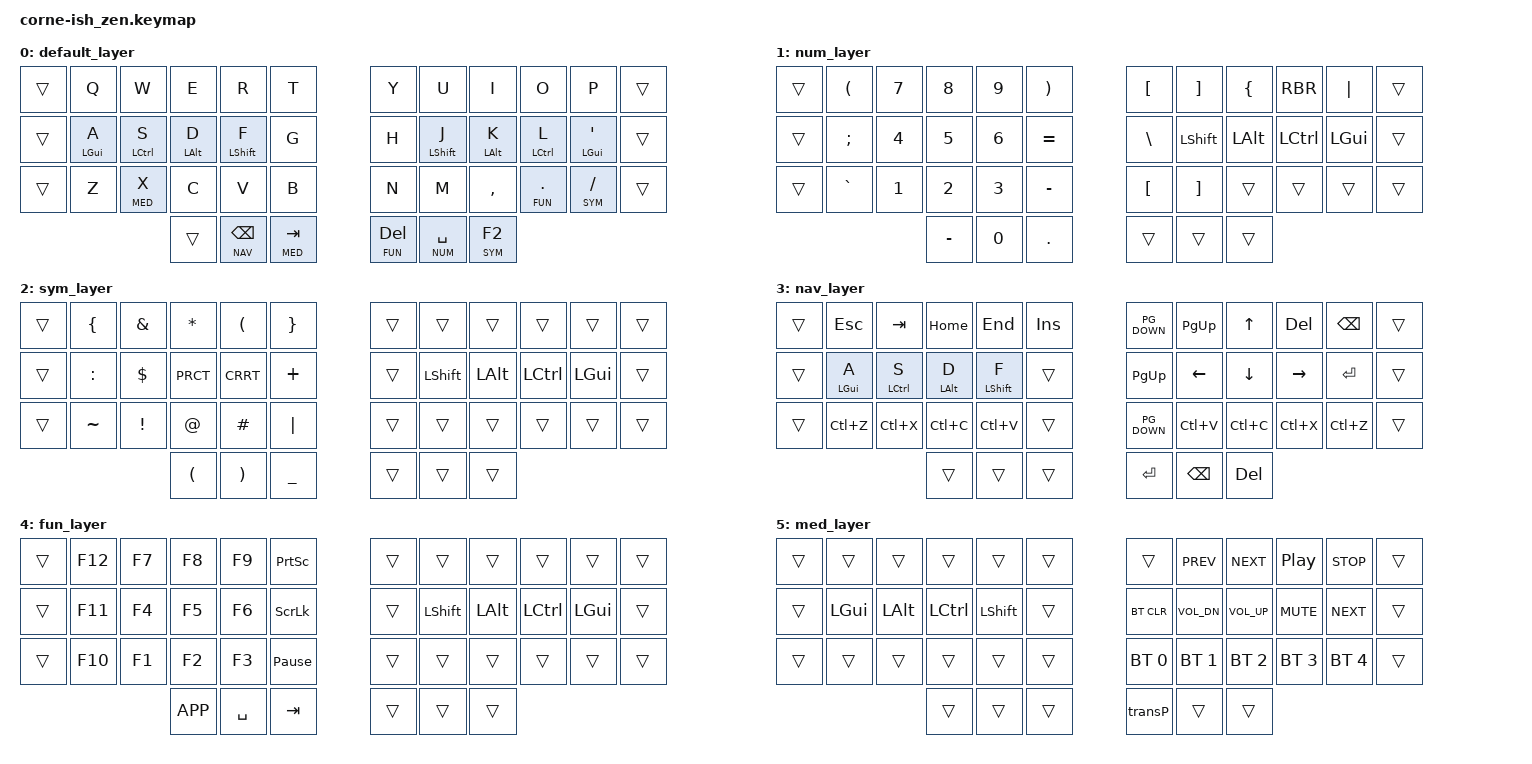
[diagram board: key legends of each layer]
/*
*
* Copyright (c) 2021 Darryl deHaan
* SPDX-License-Identifier: MIT
*
*/

#include <behaviors.dtsi>
#include <dt-bindings/zmk/keys.h>
#include <dt-bindings/zmk/bt.h>

#define BASE 0
#define NUM 1
#define SYM 2
#define NAV 3
#define FUN 4
#define MED 5

/ {
    combos {
        compatible = "zmk,combos";
        combo_esc {
            timeout-ms = <50>;
            key-positions = <13 14>;
            bindings = <&kp ESC>;
        };
        combo_tab {
            timeout-ms = <50>;
            key-positions = <14 15>;
            bindings = <&kp TAB>;
        };
        combo_delete {
            timeout-ms = <50>;
            key-positions = <15 16>;
            bindings = <&kp DELETE>;
        };
        combo_backspace {
            timeout-ms = <50>;
            key-positions = <19 20>;
            bindings = <&kp BSPC>;
        };
        combo_enter {
            timeout-ms = <50>;
            key-positions = <21 22>;
            bindings = <&kp RET>;
        };
        combo_scln {
            timeout-ms = <50>;
            key-positions = <20 21>;
            bindings = <&kp SCLN>;
        };
        combo_lpar {
            timeout-ms = <50>;
            key-positions = <3 4>;
            bindings = <&kp LPAR>;
        };
        combo_rpar {
            timeout-ms = <50>;
            key-positions = <7 8>;
            bindings = <&kp RPAR>;
        };
        combo_lbkt {
            timeout-ms = <50>;
            key-positions = <7 8>;
            bindings = <&kp LBKT>;
        };
        combo_rbkt {
            timeout-ms = <50>;
            key-positions = <7 8>;
            bindings = <&kp RBKT>;
        };
        combo_minus {
            timeout-ms = <50>;
            key-positions = <2 3>;
            bindings = <&kp MINUS>;
        };
        combo_equal {
            timeout-ms = <50>;
            key-positions = <8 9>;
            bindings = <&kp EQUAL>;
        };

    };
};

/ {
    behaviors {
        hm: homerow_mods {
            compatible = "zmk,behavior-hold-tap";
            label = "HOMEROW_MODS";
            #binding-cells = <2>;
            tapping-term-ms = <150>;
            quick-tap-ms = <0>;
            flavor = "tap-preferred";
            bindings = <&kp>, <&kp>;
        };
    };
};




/ {
        keymap {
                compatible = "zmk,keymap";

                default_layer {
                        
                        bindings = <
&trans &kp Q              &kp W              &kp E              &kp R              &kp T              &kp Y              &kp U              &kp I              &kp O              &kp P           &trans    
&trans &hm LGUI A         &hm LCTRL S        &hm LALT D         &hm LSHFT F         &kp G              &kp H              &hm LSHFT J        &hm LALT K         &hm LCTRL L        &hm LGUI SQT   &trans     
&trans &kp Z              &lt MED X          &kp C              &kp V              &kp B              &kp N              &kp M              &kp COMMA          &lt FUN DOT        &lt SYM SLASH   &trans 
                                             &trans             &lt  NAV BSPC     &lt  MED TAB      &lt  FUN DEL       &lt  NUM SPC        &lt SYM F2
                        >;
                };
                num_layer {
                       
                        bindings = <
&trans &kp LPAR           &kp NUM_7          &kp NUM_8          &kp NUM_9          &kp RPAR           &kp LBKT              &kp RBKT           &kp LBRC           &kp RBR            &kp PIPE      &trans 
&trans &kp SEMI           &kp NUM_4          &kp NUM_5          &kp NUM_6          &kp EQL            &kp BSLH              &kp LSHFT          &kp LALT           &kp LCTRL          &kp LGUI      &trans        
&trans &kp GRAVE          &kp NUM_1          &kp NUM_2          &kp NUM_3          &kp MINUS          &kp LBKT              &kp RBKT           &trans             &trans             &trans        &trans         
                                            &kp MINUS     &kp NUM_0      &kp DOT               &trans                &trans             &trans  
                        >;
                };

                sym_layer {
                        
                        bindings = <
&trans &kp LBRC           &kp AMPS           &kp ASTRK          &kp LPAR           &kp RBRC           &trans                &trans             &trans             &trans             &trans       &trans   
&trans &kp COLON          &kp DLLR           &kp PRCT           &kp CRRT           &kp PLUS           &trans                &kp LSHFT          &kp LALT           &kp LCTRL          &kp LGUI      &trans   
&trans &kp TILDE          &kp EXCL           &kp AT             &kp HASH           &kp PIPE           &trans                &trans             &trans             &trans             &trans       &trans   
                                      &kp LPAR           &kp RPAR           &kp UNDER          &trans                &trans             &trans                                          
                        >;
                };
                nav_layer {
                      
                        bindings = <
&trans &kp ESC            &kp TAB            &kp HOME           &kp END            &kp INS               &kp PG_DOWN        &kp PG_UP          &kp UP             &kp DEL            &kp BSPC     &trans       
&trans &hm LGUI A         &hm LCTRL S        &hm LALT D         &hm LSHFT F        &trans                &kp PG_UP          &kp LEFT           &kp DOWN           &kp RIGHT          &kp RETURN   &trans       
&trans &kp LC(Z)          &kp LC(X)          &kp LC(C)          &kp LC(V)          &trans                &kp PG_DOWN        &kp LC(V)          &kp LC(C)          &kp LC(X)          &kp LC(Z)    &trans            
                                      &trans             &trans             &trans                &kp RET            &kp BSPC           &kp DEL
                        >;
                };        
                fun_layer {
                      
                        bindings = <
&trans &kp F12            &kp F7             &kp F8             &kp F9             &kp PSCRN          &trans                &trans             &trans             &trans             &trans     &trans     
&trans &kp F11            &kp F4             &kp F5             &kp F6             &kp SLCK           &trans                &kp LSHFT          &kp LALT           &kp LCTRL          &kp LGUI    &trans     
&trans &kp F10            &kp F1             &kp F2             &kp F3             &kp PAUSE_BREAK    &trans                &trans             &trans             &trans             &trans     &trans     
                                      &kp K_APP          &kp SPC            &kp TAB            &trans                &trans             &trans                                          
                        >;
                };
                med_layer {
                        
                        bindings = <
&trans &trans             &trans             &trans             &trans             &trans                &trans             &kp C_PREV         &kp C_NEXT         &kp C_PP           &kp C_STOP   &trans    
&trans &kp LGUI           &kp LALT           &kp LCTRL          &kp LSHFT          &trans                &bt BT_CLR         &kp C_VOL_DN       &kp C_VOL_UP       &kp C_MUTE         &kp C_NEXT   &trans      
&trans &trans             &trans             &trans             &trans             &trans                &bt BT_SEL 0       &bt BT_SEL 1       &bt BT_SEL 2       &bt BT_SEL 3       &bt BT_SEL 4 &trans        
                                      &trans             &trans             &trans                &transP         &trans           &trans                                         
                        >;
        };
        };
};
